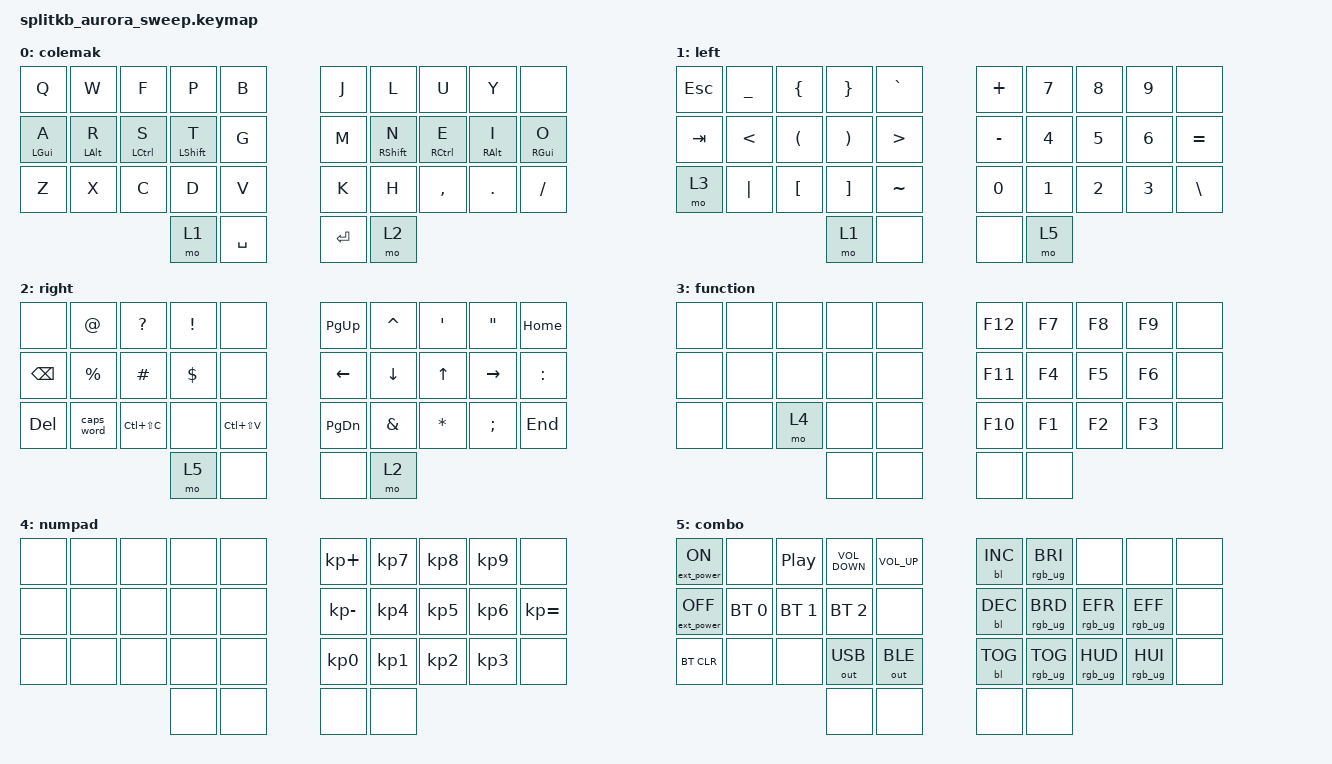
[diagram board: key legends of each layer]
/*
 * Copyright (c) 2022 The ZMK Contributors
 *
 * SPDX-License-Identifier: MIT
 */

#include <behaviors.dtsi>
#include <dt-bindings/zmk/backlight.h>
#include <dt-bindings/zmk/bt.h>
#include <dt-bindings/zmk/ext_power.h>
#include <dt-bindings/zmk/keys.h>
#include <dt-bindings/zmk/outputs.h>
#include <dt-bindings/zmk/rgb.h>

&mt {
    flavor = "tap-preferred";
    tapping-term-ms = <400>;
    require-prior-idle-ms = <200>;
};

/ {
    combos { compatible = "zmk,combos"; };

    keymap {
        compatible = "zmk,keymap";

        colemak {
            bindings = <
&kp Q       &kp W       &kp F        &kp P             &kp B    &kp J  &kp L              &kp U        &kp Y       &none
&mt LGUI A  &mt LALT R  &mt LCTRL S  &mt LEFT_SHIFT T  &kp G    &kp M  &mt RIGHT_SHIFT N  &mt RCTRL E  &mt RALT I  &mt RGUI O
&kp Z       &kp X       &kp C        &kp D             &kp V    &kp K  &kp H              &kp COMMA    &kp DOT     &kp SLASH
&mo 1       &kp SPACE                                                                                  &kp ENTER   &mo 2
            >;
        };

        left {
            bindings = <
&kp ESCAPE  &kp UNDER  &kp LBRC  &kp RBRC  &kp GRAVE    &kp PLUS   &kp N7  &kp N8  &kp N9  &none
&kp TAB     &kp LT     &kp LPAR  &kp RPAR  &kp GT       &kp MINUS  &kp N4  &kp N5  &kp N6  &kp EQUAL
&mo 3       &kp PIPE   &kp LBKT  &kp RBKT  &kp TILDE    &kp N0     &kp N1  &kp N2  &kp N3  &kp BACKSLASH
&mo 1       &none                                                                  &none   &mo 5
            >;
        };

        right {
            bindings = <
&none          &kp AT       &kp QMARK      &kp EXCL  &none            &kp PAGE_UP    &kp CARET  &kp SQT    &kp DOUBLE_QUOTES  &kp HOME
&kp BACKSPACE  &kp PERCENT  &kp HASH       &kp DLLR  &none            &kp LEFT       &kp DOWN   &kp UP     &kp RIGHT          &kp COLON
&kp DEL        &caps_word   &kp LC(LS(C))  &none     &kp LC(LS(V))    &kp PAGE_DOWN  &kp AMPS   &kp ASTRK  &kp SEMI           &kp END
&mo 5          &none                                                                                       &none              &mo 2
            >;
        };

        function {
            bindings = <
&none  &none  &none  &none  &none    &kp F12  &kp F7  &kp F8  &kp F9  &none
&none  &none  &none  &none  &none    &kp F11  &kp F4  &kp F5  &kp F6  &none
&none  &none  &mo 4  &none  &none    &kp F10  &kp F1  &kp F2  &kp F3  &none
&none  &none                                                  &none   &none
            >;
        };

        numpad {
            bindings = <
&none  &none  &none  &none  &none    &kp KP_PLUS      &kp KP_NUMBER_7  &kp KP_NUMBER_8  &kp KP_NUMBER_9  &none
&none  &none  &none  &none  &none    &kp KP_MINUS     &kp KP_NUMBER_4  &kp KP_NUMBER_5  &kp KP_NUMBER_6  &kp KP_EQUAL
&none  &none  &none  &none  &none    &kp KP_NUMBER_0  &kp KP_NUMBER_1  &kp KP_NUMBER_2  &kp KP_NUMBER_3  &none
&none  &none                                                                            &none            &none
            >;
        };

        combo {
            bindings = <
&ext_power EP_ON   &none         &kp C_PLAY_PAUSE  &kp C_VOLUME_DOWN  &kp C_VOLUME_UP    &bl BL_INC  &rgb_ug RGB_BRI  &none            &none            &none
&ext_power EP_OFF  &bt BT_SEL 0  &bt BT_SEL 1      &bt BT_SEL 2       &none              &bl BL_DEC  &rgb_ug RGB_BRD  &rgb_ug RGB_EFR  &rgb_ug RGB_EFF  &none
&bt BT_CLR         &none         &none             &out OUT_USB       &out OUT_BLE       &bl BL_TOG  &rgb_ug RGB_TOG  &rgb_ug RGB_HUD  &rgb_ug RGB_HUI  &none
&none              &none                                                                                                               &none            &none
            >;
        };
    };
};
